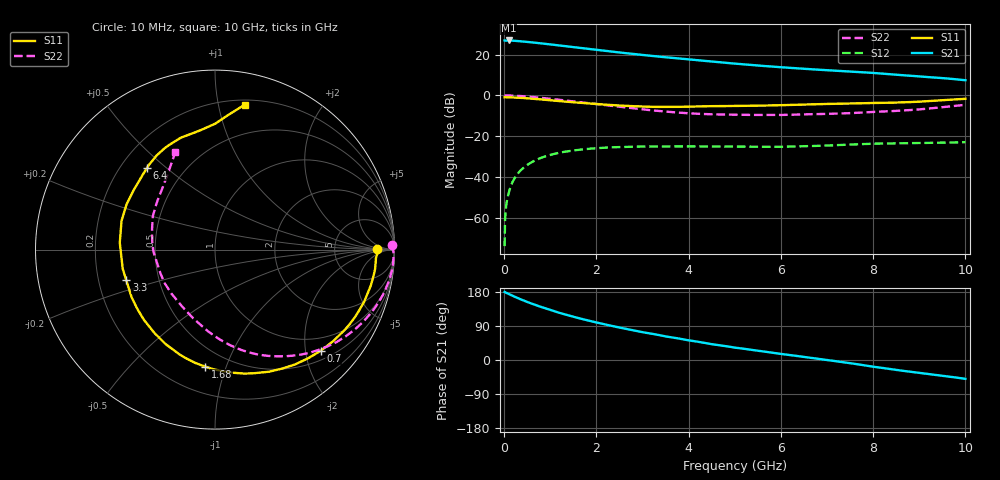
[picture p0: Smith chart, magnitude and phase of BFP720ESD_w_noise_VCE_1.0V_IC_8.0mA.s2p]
! Infineon Technologies  Discrete & RF Semiconductors
! BFP720ESD
! VCE =  1.0 V,  IC =  8.0 mA
! Common Emitter S-Parameters:  Jan 2016
# GHz  S  MA  R  50
!  f  S11  S21  S12  S22
! GHz  MAG  ANG  MAG  ANG  MAG  ANG  MAG  ANG
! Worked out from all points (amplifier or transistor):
!   233 points, 10 MHz to 10 GHz, reference 50 ohm
!   highest |S21| = 27.0 dB at 100 MHz (marker M1)
!   |S21| within 3 dB of that: start of sweep to 1.389 GHz
!   unconditionally stable (mu >= 1): 5.338 GHz to 9.533 GHz
!   at 200 MHz: K = 0.07, MSG = 34.3 dB, |S12| = -41.7 dB
!   at 1.74 GHz: K = 0.35, MSG = 24.7 dB, |S12| = -26.4 dB
!   at 10 GHz: K = 0.83, MSG = 15.2 dB, |S12| = -22.9 dB
!   lowest NFmin = 0.62 dB at 450 MHz
!   S11 on the Smith chart (normalised r, x): 10 MHz: 20, +0; 700 MHz: 0.69, -2.31; 1.68 GHz: 0.37, -0.85; 3.3 GHz: 0.32, -0.15; 6.4 GHz: 0.31, +0.43; 10 GHz: 0.24, +1.20
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0.01  0.9036 0.1  22.3 179.7  0.0002 63.6  0.9862 1.6
0.025  0.904 -1.6  22.17 178.5  0.0011 88.1  0.9937 -0.8
0.1  0.8991 -6.6  22.3 174.3  0.0041 86.4  0.9953 -4.5
0.2  0.8907 -13.1  22.05 168.6  0.0082 81.7  0.9871 -9.1
0.38  0.8682 -24.5  21.2 159.0  0.0153 74.6  0.9611 -17.0
0.5  0.85 -31.8  20.57 153.2  0.0197 70.2  0.9394 -21.9
0.7  0.8152 -43.8  19.51 144.2  0.0264 63.1  0.8972 -29.8
0.9  0.78 -55.1  18.4 135.9  0.0322 56.6  0.8516 -37.2
1.16  0.7324 -69.2  16.99 125.9  0.0384 49.0  0.7889 -46.1
1.4  0.6936 -81.6  15.73 117.4  0.043 42.7  0.733 -53.7
1.68  0.654 -94.8  14.43 108.4  0.0471 36.5  0.6746 -61.6
2  0.6161 -108.8  13.08 99.1  0.0507 30.4  0.6145 -70.1
2.4  0.5742 -126.0  11.65 88.2  0.0537 23.6  0.5436 -80.4
2.8  0.5447 -142.6  10.4 78.1  0.0551 18.0  0.4801 -90.6
3.3  0.5229 -161.0  9.078 67.1  0.0558 12.6  0.4199 -102.5
3.4  0.523 -164.6  8.849 64.8  0.0559 11.7  0.4102 -105.0
4  0.5319 175.9  7.664 51.9  0.0563 6.9  0.3647 -120.7
5.1  0.5541 151.0  5.897 31.2  0.055 1.6  0.3352 -148.1
6.4  0.5927 129.6  4.579 9.7  0.0562 0.4  0.3402 -176.0
6.8  0.6086 124.3  4.285 3.3  0.0579 0.2  0.3478 176.4
8.4  0.6627 99.6  3.285 -24.4  0.0663 -7.0  0.4116 143.0
10  0.8253 78.3  2.362 -49.8  0.0713 -14.5  0.588 112.0
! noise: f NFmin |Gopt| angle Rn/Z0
0.45  0.62  0.34  4  0.12
0.9  0.66  0.33  11  0.14
1.9  0.68  0.28  27  0.13
2.4  0.71  0.26  32  0.13
5.5  0.88  0.04  109  0.09
10  1.4  0.52  -95  0.36
